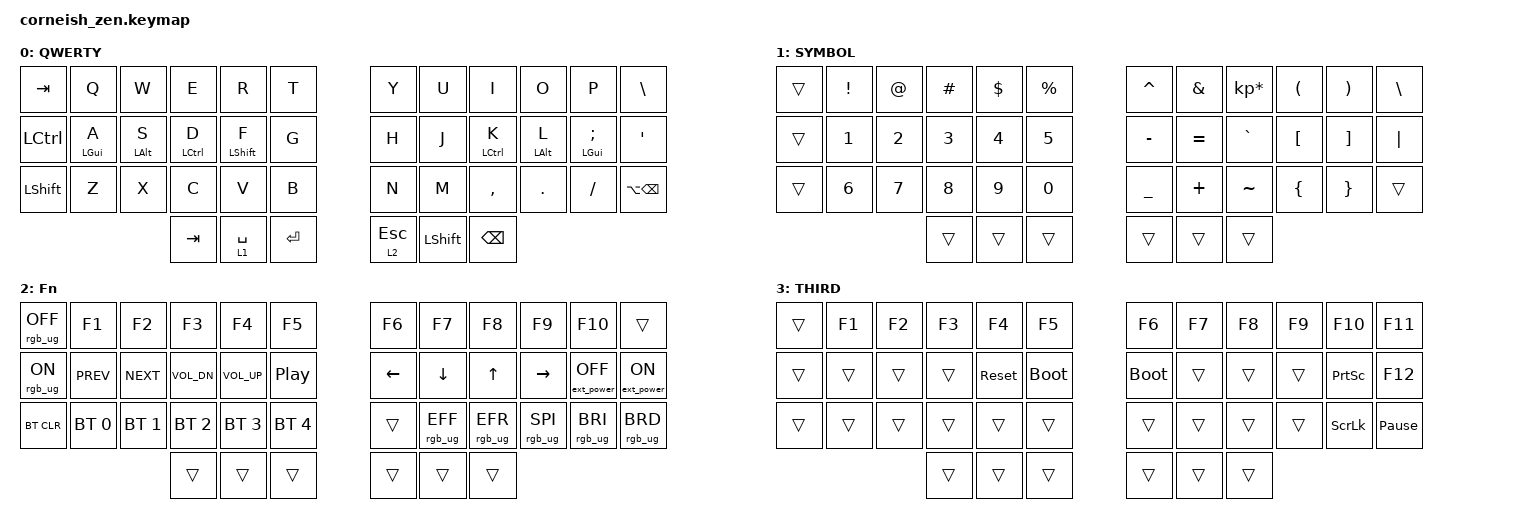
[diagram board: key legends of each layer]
/*
 * Copyright (c) 2020 The ZMK Contributors
 *
 * SPDX-License-Identifier: MIT
 */

#include <behaviors.dtsi>
#include <dt-bindings/zmk/bt.h>
#include <dt-bindings/zmk/ext_power.h>
#include <dt-bindings/zmk/keys.h>
#include <dt-bindings/zmk/outputs.h>
#include <dt-bindings/zmk/rgb.h>
#include "./dependencies/keys.h"

#define KEYS_L LT0 LT1 LT2 LT3 LT4 LM0 LM1 LM2 LM3 LM4 LB0 LB1 LB2 LB3 LB4  // left-hand keys
#define KEYS_R RT0 RT1 RT2 RT3 RT4 RM0 RM1 RM2 RM3 RM4 RB0 RB1 RB2 RB3 RB4  // right-hand keys
#define THUMBS LH2 LH1 LH0 RH0 RH1 RH2                                      // thumb keys

/ {
    chosen {
        zmk,matrix_transform = &default_transform;

        // zmk,matrix_transform = &five_column_transform;
    };
};

/ {
    behaviors {
         tp: tap_hold {
            compatible = "zmk,behavior-hold-tap";
            #binding-cells = <2>;
            tapping-term-ms = <150>;
            quick-tap-ms = <0>;
            flavor = "tap-preferred";
            global-quick-tap;
            bindings = <&mo>, <&kp>;
          };
          kph: key_tap_hold {
            compatible = "zmk,behavior-hold-tap";
            #binding-cells = <2>;
            tapping-term-ms = <150>;
            quick-tap-ms = <0>;
            flavor = "tap-preferred";
            global-quick-tap;
            bindings = <&kp>, <&kp>;
          };
          lt: layer_tap {
                compatible = "zmk,behavior-hold-tap";
                label = "LAYER_TAP";
                #binding-cells = <2>;
                flavor = "tap-preferred";
                tapping-term-ms = <200>;
                quick-tap-ms = <125>;
                global-quick-tap;
                bindings = <&mo>, <&kp>;
          };
          slt: spacebar_layer_tap {
                compatible = "zmk,behavior-hold-tap";
                #binding-cells = <2>;
                flavor = "balanced";
                tapping-term-ms = <175>;
                quick-tap-ms = <100>;                // repeat on tap-into-hold
                require-prior-idle-ms = <75>;
                bindings = <&mo>, <&kp>;
                hold-trigger-key-positions = <KEYS_R KEYS_L>;
                hold-trigger-on-release;             // delay positional check until key-release
          };
          bhm: balanced_homerow_mods {
            compatible = "zmk,behavior-hold-tap";
            #binding-cells = <2>;
            tapping-term-ms = <200>;    // <---[[moderate duration]]
            quick-tap-ms = <0>;
            flavor = "balanced";
            bindings = <&kp>, <&kp>;
          };
          hml: home_row_left {
                compatible = "zmk,behavior-hold-tap";
                #binding-cells = <2>;
                flavor = "balanced";
                tapping-term-ms = <280>;
                quick-tap-ms = <175>;                // repeat on tap-into-hold
                require-prior-idle-ms = <150>;
                bindings = <&kp>, <&kp>;
                hold-trigger-key-positions = <KEYS_R THUMBS>;
                hold-trigger-on-release;             // delay positional check until key-release
          };
          hmr: home_row_right {
                compatible = "zmk,behavior-hold-tap";
                #binding-cells = <2>;
                flavor = "balanced";
                tapping-term-ms = <280>;
                quick-tap-ms = <175>;                // repeat on tap-into-hold
                require-prior-idle-ms = <150>;
                bindings = <&kp>, <&kp>;
                hold-trigger-key-positions = <KEYS_L THUMBS>;
                hold-trigger-on-release;             // delay positional check until key-release
          };
          bs: custom_backspace {
              compatible = "zmk,behavior-tap-dance";
              #binding-cells = <0>;
              tapping-term-ms = <200>;
              bindings = <&kp BSPC &kp LALT>, <&kp LGUI &kp BSPC>;
          };
        td0: td0 {
            compatible = "zmk,behavior-tap-dance";
            label = "TD0";
            #binding-cells = <0>;
            bindings = <&kp LEFT_SHIFT>, <&kp CAPS>;
        };
    };

    keymap {
        compatible = "zmk,keymap";

        default_layer {
            display-name = "QWERTY";

            // --------------------------------------------------------------------------------
            // |  TAB |  Q  |  W  |  E  |  R  |  T  |   |  Y  |  U   |  I  |  O  |  P  | BKSP |
            // | CTRL |  A  |  S  |  D  |  F  |  G  |   |  H  |  J   |  K  |  L  |  ;  |  '   |
            // | SHFT |  Z  |  X  |  C  |  V  |  B  |   |  N  |  M   |  ,  |  .  |  /  | ESC  |
            //                    | GUI | LWR | SPC |   | ENT | RSE  | ALT |

            bindings = <
&kp TAB    &kp Q  &kp W  &kp E       &kp R  &kp T          &kp Y        &kp U  &kp I      &kp O    &kp P     &kp BSLH
&kp LCTRL  &hml LGUI A  &hml LALT S  &hml LCTRL D  &hml LSHFT F  &kp G          &kp H        &kp J  &hmr LCTRL K      &hmr LALT L    &hmr LGUI SEMI  &kp SQT
&kp LSHFT  &kp Z  &kp X  &kp C     &kp V  &kp B          &kp N        &kp M  &kp COMMA  &kp DOT  &kp FSLH  &kp LA(BSPC)
                         &kp TAB  &slt 1 SPACE  &kp RET    &lt 2 ESC  &kp LSHFT  &kp BSPC
            >;
        };

        lower_layer {
            display-name = "SYMBOL";
// -----------------------------------------------------------------------------------------
// |      |  !  |  @  |  #  |  $  |    %     |   |  ^  |  &  |  *  |  (  |  )  |   \   |
// |      |  1  |  2  |  3  |  4  |    5     |   |  -  |  =  |  `  |  [  |  ]  |  "|"  |
// | SHFT |  6  |  7  |  8  |  9  |    0     |   |  _  |  +  |  ~  |  {  |  }  | LALT |
//                     | GUI |     | ALT/ENT |   | HYPER/SPACE | BKSP |    |
                        bindings = <
   &trans    &kp EXCL &kp AT &kp HASH &kp DLLR &kp PRCNT   &kp CARET  &kp AMPS  &kp KP_MULTIPLY &kp LPAR &kp RPAR &kp BSLH
   &trans    &kp N1   &kp N2 &kp N3   &kp N4   &kp N5      &kp MINUS  &kp EQUAL &kp GRAVE       &kp LBKT &kp RBKT &kp PIPE
   &trans    &kp N6   &kp N7 &kp N8   &kp N9   &kp N0      &kp UNDER  &kp PLUS  &kp TILDE       &kp LBRC &kp RBRC &trans
                         &trans &trans &trans   &trans &trans &trans
                        >;
        };

        raise_layer {
            display-name = "Fn";

         // -----------------------------------------------------------------------------------------
// |       |  F1  |  F2  |  F3  |  F4  |  F5 |            |  F6  |  F7  |  F8  |  F9  |  F10  |   |
// |       | Prev | Next | Vol - | Vol + | Play/Pause |   |      | LFT | DWN |  UP | RGT |     |     |
// | BTCLR | BT1 | BT2 | BT3 | BT4 | BT5 |   |            |     |     |     |     |     |     |
//                    |     |     |    |                  |     |     |     |
                        bindings = <
   &rgb_ug RGB_OFF     &kp F1        &kp F2       &kp F3       &kp F4       &kp F5          &kp F6   &kp F7   &kp F8 &kp F9    &kp F10 &trans
   &rgb_ug RGB_ON      &kp C_PREV    &kp C_NEXT   &kp C_VOL_DN &kp C_VOL_UP &kp C_PP        &kp LEFT &kp DOWN &kp UP &kp RIGHT &ext_power EP_OFF  &ext_power EP_ON
   &bt BT_CLR &bt BT_SEL 0  &bt BT_SEL 1 &bt BT_SEL 2 &bt BT_SEL 3 &bt BT_SEL 4             &trans   &rgb_ug RGB_EFF  &rgb_ug RGB_EFR  &rgb_ug RGB_SPI  &rgb_ug RGB_BRI  &rgb_ug RGB_BRD
                          	                        &trans   &trans   &trans                &trans   &trans   &trans

            >;
        };

        layer_3 {
            display-name = "THIRD";
            bindings = <
&trans  &kp F1  &kp F2  &kp F3  &kp F4      &kp F5         &kp F6       &kp F7  &kp F8  &kp F9  &kp F10          &kp F11
&trans  &trans  &trans  &trans  &sys_reset  &bootloader    &bootloader  &trans  &trans  &trans  &kp PRINTSCREEN  &kp F12
&trans  &trans  &trans  &trans  &trans      &trans         &trans       &trans  &trans  &trans  &kp SCROLLLOCK   &kp PAUSE_BREAK
                        &trans  &trans      &trans         &trans       &trans  &trans
            >;
        };
    };
};
